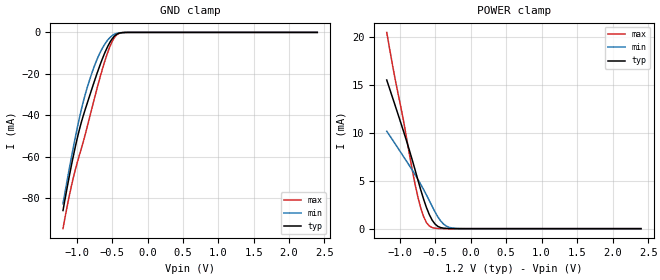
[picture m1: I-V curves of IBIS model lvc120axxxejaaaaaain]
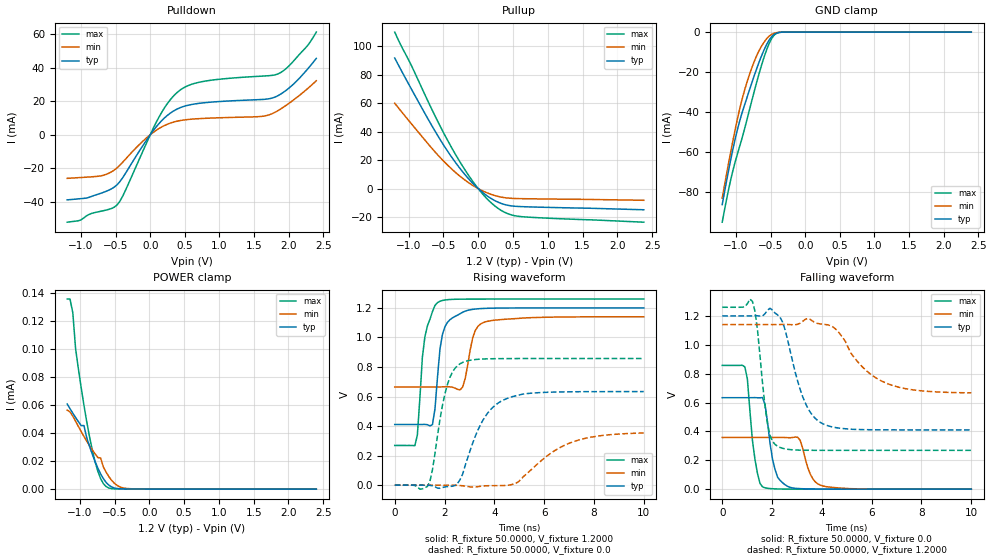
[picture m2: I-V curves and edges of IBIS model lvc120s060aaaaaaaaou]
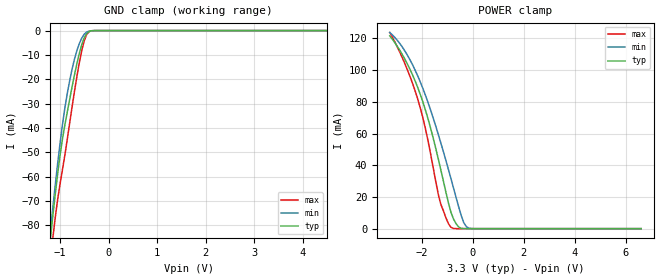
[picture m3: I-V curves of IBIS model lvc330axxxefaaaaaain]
| IBIS Models Generator: Lattice Diamond (64-bit) 3.12.0.240.2
| Generate date: Wed Oct 25 15:16:01 2023
| IBIS File LibisMaker.ibs
| LibisGen v2.0.1.0, 02/25/2008, Lattice Semiconductor Corporation
| Modified by LibisMaker v2.0.1.0, 02/25/2008, Lattice Semiconductor
| North Carolina State University, ERL, 2006
[IBIS ver]   3.2
[File Name]   helloworld1_impl1.ibs
[File Rev]   3.5
[Date]   Thu Sep 10 07:33:23 PDT 2020
[Source]   Lattice Semiconductor cs200fl Process
   LCMXO2-640UHC   FINAL
   Lattice Semiconductor has worked hard to ensure the
   models below are accurate and complete.  However, the
   data below was generated using simulation of the
   input/output model files for the silicon.  Therefore,
   the data below is for reference and initial design
   purposes only.
   Lattice Semiconductor grants permission to use this
   data for use in printed circuit design using this
   Lattice programmable logic device.  Other use of this
   code, including the selling or duplication of any
   portion is strictly prohibited.
|   NAMING CONVENTION
   The IBIS [Model] header is limited by the specification to a
   total of characters.  With such a set of characters available
   for naming models it becomes important to attempt to
   meaningfully encode the IO standards so they fit within the
   twenty character limit.  It would seem that twenty characters
   would provide room enough for describing IO's.  However, the
   PLD IO structure continues to grow more and more complex.  The
   complexity is making the twenty characters insuffiently
   descriptive.  In order to overcome this issue the naming
   convention described below is implemented to resolve the issue.
The twenty character space is managed as follows:
   bbbvvvsdddprugtcoixx
   b = standard
   v = voltage (x.xx V)
   s = slew code
   d = drive (xx.x ma)
   p = pullup code
   r = series resistance  or bank_vccio code
   u = terminate to vcc code
   g = terminate to gnd code
   t = terminate to vtt code
   c = common mode termination mode
   o = diff resistor code
   i = diff resistor current code
   x = reserved
   standard
   lvcmos   lvc
   lvcmosd   lvd
   lvcmosr   lvr
   lvds25e   lve
   lvttl   lvt
   lvttld   ltd
   pci   pci
   sstl_I   ss1
   sstl_II   ss2
   sstld_I   s1d
   sstld_II   s2d
   hstl_i   hs1
   hstl_ii   hs2
   hstld_i   h1d
   hstld_ii   h2d
   lvds25   lvs
   blvds25   blv
   blvds25e   blv
   mlvds25   mlv
   mlvds25e   mlv
   lvpecl33   lvp
   lvpecl33e   lvp
   rsds25   rsd
   rsds25e   rse
   mipi   mip
   mipi_lp   mip
   vref1   vr1
   vref2   vr2
   ref_res   rer
   slew
   na   a
   fast   f
   slow   s
   pullmode
   off   a
   pullup   b
   pulldown   c
   bushold   d
   clamp   e
   up_clamp   f
   down_clamp   g
   keeper_clamp   h
   impedance or Bank_vccio
   off   a
   25   b
   33   c
   50   d
   100   e
   3.3   f
   2.5   g
   1.8   h
   1.5   i
   1.2   j
   termVCC
   off   a
   50   b
   100   c
   120   d
   termGND
   off   a
   50   b
   100   c
   120   d
   termVTT
   off   a
   60   b
   75   c
   120   d
   150   e
   210   f
   VCMT
   off   a
   VCMT   b
   VTT   c
   DDR-2   d
   differential resistor
   off   a
   100   b
   diff drive
   NA   a
   2.0   b
   3.5   c
   1.25   f
   2.5   g
   Reserved   IO type
   in   input only
   ou   output
   io   I/O
   od   Open drain
   on   Inverting differential I/O
   (signal name only)
   op   Non-Inverting differential I/O
   (signal name only)
   Lattice Semiconductor Corporation
   5555 NE Moore Court
   Hillsboro, OR 97214
   U.S.A
   TEL: 1-800-Lattice (USA and Canada)
   408-826-6000 (other locations)
   web: http://www.latticesemi.com/
   email: techsupport@latticesemi.com
[Disclaimer] This IBIS source code is intended as a design reference
   which illustrates how the Lattice Semiconductor device operates.
   It is the user's responsibility to verify their design for
   consistency and functionality through the use of formal
   verification methods.  Lattice Semiconductor provides no warranty
   regarding the use or functionality of this data.
[Copyright]   Copyright 2007 by Lattice Semiconductor Corporation
|   Component XO2
[Component]   XO2
[Manufacturer]   Lattice Semiconductor Corp.
[Package]
|TQFP144
| variable   typ   min   max
R_pkg   159.8m   143.8m   177.3m
L_pkg   7.50nH   6.34nH   8.65nH
C_pkg   1.22pF   1.06pF   1.38pF
[Pin] signal_name   model_name   R_pin   L_pin   C_pin
45   AD0   lvc120s060aaaaaaaaou
44   AD1   lvc120s060aaaaaaaaou
50   ADClk1   lvc120s060aaaaaaaaou
1   ADClk2   lvc120s060aaaaaaaaou
99   ADClk3   lvc120s060aaaaaaaaou
55   ADMode1_1   lvc120s060aaaaaaaaou
95   ADMode1_2   lvc120s060aaaaaaaaou
96   ADMode1_3   lvc120s060aaaaaaaaou
52   ADMode_1   lvc120s060aaaaaaaaou
39   ADMode_2   lvc120s060aaaaaaaaou
85   ADMode_3   lvc120s060aaaaaaaaou
43   ADRst1   lvc120s060aaaaaaaaou
104   ADRst2   lvc120s060aaaaaaaaou
105   ADRst3   lvc120s060aaaaaaaaou
54   ADSout7   lvc120axxxejaaaaaain
71   ADSout8   lvc120axxxejaaaaaain
34   Clk1   lvc120s060aaaaaaaaou
69   Clk2   lvc120s060aaaaaaaaou
32   Clk3   lvc120s060aaaaaaaaou
70   Clk4   lvc120s060aaaaaaaaou
142   ClkOut   lvc330s080aaaaaaaaou
141   DataOut   lvc330s080aaaaaaaaou
106   DebugP2   lvc120s060aaaaaaaaou
20   DebugP3   lvc120s060aaaaaaaaou
125   OSC_in   lvc330axxxefaaaaaain
42   PhaseA1   lvc120s060aaaaaaaaou
58   PhaseA2   lvc120s060aaaaaaaaou
59   PhaseA4   lvc120s060aaaaaaaaou
47   PhaseC1   lvc120s060aaaaaaaaou
48   PhaseC2   lvc120s060aaaaaaaaou
21   PhaseC3   lvc120s060aaaaaaaaou
49   PhaseC4   lvc120s060aaaaaaaaou
28   RS1   lvc120s060aaaaaaaaou
27   RS2   lvc120s060aaaaaaaaou
35   RS3   lvc120s060aaaaaaaaou
33   RS4   lvc120s060aaaaaaaaou
83   RS5   lvc120s060aaaaaaaaou
60   RS6   lvc120s060aaaaaaaaou
61   RS7   lvc120s060aaaaaaaaou
62   RS8   lvc120s060aaaaaaaaou
122   ResCS1   lvc330s080aaaaaaaaou
119   ResCS2   lvc330s080aaaaaaaaou
113   ResCS3   lvc330s080aaaaaaaaou
114   ResCS4   lvc330s080aaaaaaaaou
115   ResCS5   lvc330s080aaaaaaaaou
111   ResCS6   lvc330s080aaaaaaaaou
112   ResCS7   lvc330s080aaaaaaaaou
121   ResCS8   lvc330s080aaaaaaaaou
109   ResClk   lvc330s080aaaaaaaaou
110   ResSDI1   lvc330s080aaaaaaaaou
139   ResSDI2   lvc330s080aaaaaaaaou
56   Rst   lvc120s060aaaaaaaaou
38   Rst1   lvc120s060aaaaaaaaou
40   Rst2   lvc120s060aaaaaaaaou
19   Sin1   lvc120s060aaaaaaaaou
11   Sin10   lvc120s060aaaaaaaaou
10   Sin11   lvc120s060aaaaaaaaou
9   Sin12   lvc120s060aaaaaaaaou
68   Sin14   lvc120s060aaaaaaaaou
67   Sin15   lvc120s060aaaaaaaaou
65   Sin16   lvc120s060aaaaaaaaou
12   Sin2   lvc120s060aaaaaaaaou
13   Sin3   lvc120s060aaaaaaaaou
14   Sin4   lvc120s060aaaaaaaaou
75   Sin5   lvc120s060aaaaaaaaou
74   Sin6   lvc120s060aaaaaaaaou
77   Sin7   lvc120s060aaaaaaaaou
76   Sin8   lvc120s060aaaaaaaaou
6   Sin9   lvc120s060aaaaaaaaou
127   Sout1   lvc330s080aaaaaaaaou
128   Sout2   lvc330s080aaaaaaaaou
132   Sout3   lvc330s080caaaaaaaou
133   Sout4   lvc330s080caaaaaaaou
25   p1   lvc120s060aaaaaaaaou
| Models and submodels in the file (5): lvc120axxxejaaaaaain (Input), lvc120s060aaaaaaaaou (Output), lvc330axxxefaaaaaain (Input), lvc330s080aaaaaaaaou (Output), lvc330s080caaaaaaaou (Output)
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[Model]   lvc120axxxejaaaaaain
Model_type   Input
Polarity   Non-Inverting
Enable   Active-Low
Vinl =   0.4200V
Vinh =   0.7800V
C_comp   4.2000pF   3.8000pF   7.5000pF
[Temperature Range]   25.0000   0.1050k   -40.0000
[Voltage Range]   1.2000V   1.1400V   1.2600V
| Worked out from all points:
|   GND clamp passes 1 mA (typ) near -0.44 V on its own axis
|   POWER clamp passes 1 mA (typ) near -0.55 V on its own axis
[GND_clamp]
|Voltage   I(typ)   I(min)   I(max)
-1.2V     -86.07mA   -82.81mA   -94.84mA
-1.1V     -67.62mA   -63.85mA   -77.22mA
-1V       -51.44mA   -46.49mA   -63.16mA
-920mV    -41.05mA   -34.47mA   -53.69mA
-840mV    -32.43mA   -24.76mA   -43.33mA
-740mV    -22.02mA   -14.88mA   -29.93mA
-640mV    -12.55mA   -7.499mA   -17.49mA
-580mV    -7.732mA   -4.278mA   -10.96mA
-520mV    -3.911mA   -2mA       -5.586mA
-440mV    -943.9uA   -474.2uA   -1.243mA
-300mV    -18.55uA   -15.85uA   -16.32uA
2.4V      0A         0A         0A
[POWER_clamp]
|Voltage   I(typ)   I(min)   I(max)
-1.18V    15.54mA    10.19mA    20.52mA
-1.06V    12.84mA    8.851mA    15.57mA
-940mV    10.09mA    7.491mA    11.12mA
-780mV    6.115mA    5.629mA    4.606mA
-700mV    4.023mA    4.616mA    2.131mA
-660mV    3.056mA    4.076mA    1.241mA
-580mV    1.457mA    2.922mA    275.5uA
-500mV    478.5uA    1.748mA    47.96uA
-420mV    109.5uA    796.1uA    7.509uA
-340mV    22.62uA    261.6uA    1.074uA
-260mV    4.285uA    65.97uA    166.7nA
2.4V      -20.81nA   -18.5nA    -25.04nA
[Model]   lvc120s060aaaaaaaaou
Model_type   Output
Polarity   Non-Inverting
Enable   Active-Low
Vmeas =   0.6000V
Cref =   0.0F
Rref =   1.0000M
Vref =   0.0V
C_comp   3.0000pF   2.7000pF   3.3000pF
[Temperature Range]   25.0000   0.1050k   -40.0000
[Voltage Range]   1.2000V   1.1400V   1.2600V
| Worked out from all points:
|   slope of the pulldown table from 0 to 0.18 V, typ, clamps not added: 20 ohm
|   slope of the pullup table from 0 to 0.18 V, typ, clamps not added: 26.6 ohm
|   GND clamp passes 1 mA (typ) near -0.44 V on its own axis
|   rising waveform, R_fixture 50.0000, V_fixture 1.2000: 20-80 % time 317ps typ, 358ps min, 329ps max; typ from 0.41 V to 1.2 V
|   rising waveform, R_fixture 50.0000, V_fixture 0.0: 20-80 % time 1.01ns typ, 1.73ns min, 548ps max; typ from 0 V to 0.634 V
|   falling waveform, R_fixture 50.0000, V_fixture 0.0: 20-80 % time 354ps typ, 414ps min, 305ps max; typ from 0.634 V to 0 V
|   falling waveform, R_fixture 50.0000, V_fixture 1.2000: 20-80 % time 802ps typ, 1.41ns min, 368ps max; typ from 1.2 V to 0.41 V
[Pulldown]
|Voltage   I(typ)   I(min)   I(max)
-1.2V     -38.96mA   -26.08mA   -52.29mA
-720mV    -35.07mA   -24.65mA   -45.8mA
-480mV    -29.93mA   -19.79mA   -41.97mA
-360mV    -23.22mA   -14.7mA    -33.4mA
120mV     6.376mA    3.552mA    10.08mA
280mV     12.61mA    6.797mA    20.43mA
440mV     16.3mA     8.521mA    26.95mA
800mV     19.2mA     9.815mA    32.1mA
1.6V      21.04mA    10.93mA    34.99mA
1.84V     23.22mA    14.24mA    36.25mA
2.04V     29.13mA    19.83mA    42.64mA
2.4V      45.61mA    32.28mA    61.37mA
[Pullup]
|Voltage   I(typ)   I(min)   I(max)
-1.2V     91.7mA     59.93mA    109.9mA
-960mV    69.84mA    45.5mA     86.39mA
-680mV    45.34mA    29.11mA    57.02mA
-520mV    32.33mA    20.46mA    41.29mA
-360mV    20.61mA    12.83mA    26.86mA
-200mV    10.41mA    6.348mA    13.9mA
-40mV     1.856mA    1.102mA    2.554mA
120mV     -4.812mA   -2.806mA   -6.806mA
240mV     -8.452mA   -4.875mA   -12.21mA
400mV     -11.43mA   -6.477mA   -17.09mA
600mV     -12.59mA   -7.023mA   -19.56mA
2.38V     -14.84mA   -8.182mA   -23.56mA
[GND_clamp]
|Voltage   I(typ)   I(min)   I(max)
-1.2V     -86.07mA   -82.81mA   -94.84mA
-1.1V     -67.62mA   -63.85mA   -77.22mA
-1V       -51.44mA   -46.49mA   -63.16mA
-920mV    -41.05mA   -34.47mA   -53.69mA
-840mV    -32.43mA   -24.76mA   -43.33mA
-740mV    -22.02mA   -14.88mA   -29.93mA
-640mV    -12.55mA   -7.499mA   -17.49mA
-580mV    -7.732mA   -4.278mA   -10.96mA
-520mV    -3.911mA   -2mA       -5.586mA
-440mV    -943.9uA   -474.2uA   -1.243mA
-300mV    -18.55uA   -15.85uA   -16.32uA
2.4V      0A         0A         0A
[POWER_clamp]
|Voltage   I(typ)   I(min)   I(max)
-1.18V    60.64uA    56.26uA    135.4uA
-1.14V    57.31uA    54.99uA    135.4uA
-1.1V     54.11uA    52uA       125.7uA
-1.06V    51.03uA    48.39uA    100.1uA
-1.02V    48.09uA    44.69uA    85.81uA
-940mV    45.28uA    37.56uA    59.84uA
-820mV    24.89uA    28uA       27.91uA
-700mV    10.88uA    22.15uA    7.486uA
-620mV    4.733uA    12.01uA    1.786uA
-460mV    415.3nA    2.532uA    158.5nA
-300mV    127.1nA    366.3nA    158.5nA
2.4V      -20.81nA   -18.5nA    -25.04nA
[Ramp]
| variable   typ   min   max
dV/dt_r  0.3358/0.9992n   0.2119/1.7173n   0.5144/0.5428n
dV/dt_f  0.4737/0.7939n   0.2838/1.4939n   0.5947/0.3645n
R_load = 50.0000
[Rising Waveform]
R_fixture=   50.0000
V_fixture=   1.2000
V_fixture_min=   1.1400
V_fixture_max=   1.2600
|time   V(typ)   V(min)   V(max)
0s        410.5mV    664.7mV    268.8mV
808.1ps   410.4mV    664.7mV    267.5mV
1.212ns   411.3mV    664.7mV    1.006V
1.515ns   410.3mV    664.5mV    1.175V
1.717ns   732.2mV    664.7mV    1.236V
2.02ns    1.075V     665.9mV    1.254V
2.828ns   1.178V     721.4mV    1.26V
3.232ns   1.192V     1.047V     1.26V
3.636ns   1.197V     1.106V     1.26V
10ns      1.2V       1.14V      1.26V
[Rising Waveform]
R_fixture=   50.0000
V_fixture=   0.0
V_fixture_min=   0.0
V_fixture_max=   0.0
|time   V(typ)   V(min)   V(max)
0s        231.9nV    390.7nV    158.8nV
1.313ns   -481.2uV   2.349uV    -8.377mV
1.515ns   -4.577mV   9.668uV    104.6mV
1.818ns   -21.53mV   11.11uV    446.9mV
2.121ns   -9.601mV   -355.6uV   684.2mV
2.727ns   74.64mV    -4.326mV   831mV
3.535ns   438.2mV    -5.924mV   854.1mV
4.444ns   582.5mV    -2.12mV    856.9mV
7.071ns   632.1mV    287.9mV    857.3mV
10ns      633.5mV    353.1mV    857.3mV
[Falling Waveform]
R_fixture=   50.0000
V_fixture=   0.0
V_fixture_min=   0.0
V_fixture_max=   0.0
|time   V(typ)   V(min)   V(max)
0s        633.6mV    358mV      857.3mV
909.1ps   633.6mV    358mV      846.5mV
1.313ns   634.3mV    358mV      208.2mV
1.616ns   634.6mV    358mV      16.31mV
2.121ns   135.2mV    358mV      2.021mV
2.626ns   19.44mV    356.7mV    419.9uV
3.131ns   3.598mV    337.3mV    77.69uV
3.535ns   1.522mV    104mV      20.84uV
4.04ns    573.9uV    22.04mV    26.66uV
10ns      1.994uV    5.359uV    -9.394uV
[Falling Waveform]
R_fixture=   50.0000
V_fixture=   1.2000
V_fixture_min=   1.1400
V_fixture_max=   1.2600
|time   V(typ)   V(min)   V(max)
0s        1.2V       1.14V      1.26V
1.212ns   1.2V       1.14V      1.3V
1.414ns   1.201V     1.14V      1.106V
1.818ns   1.24V      1.14V      453.5mV
2.222ns   1.207V     1.14V      297.6mV
2.525ns   1.103V     1.141V     279mV
3.232ns   639.7mV    1.162V     269.9mV
3.939ns   462.7mV    1.144V     268.9mV
6.465ns   411mV      743.6mV    268.8mV
10ns      410.5mV    666.9mV    268.8mV
[Model]   lvc330axxxefaaaaaain
Model_type   Input
Polarity   Non-Inverting
Enable   Active-Low
Vinl =   0.8000V
Vinh =   2.0000V
C_comp   4.2000pF   3.8000pF   7.5000pF
[Temperature Range]   25.0000   0.1050k   -40.0000
[Voltage Range]   3.3000V   3.1400V   3.4700V
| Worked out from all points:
|   GND clamp passes 1 mA (typ) near -0.44 V on its own axis
|   POWER clamp passes 1 mA (typ) near -0.54 V on its own axis
[GND_clamp]
|Voltage   I(typ)   I(min)   I(max)
-3.3V     -955.3mA   -930.3mA   -978mA
-1.2V     -86.18mA   -82.93mA   -94.91mA
-1.15V    -76.73mA   -73.29mA   -85.74mA
-1.1V     -67.71mA   -63.95mA   -77.28mA
-1V       -51.52mA   -46.57mA   -63.21mA
-900mV    -38.87mA   -31.88mA   -51.26mA
-800mV    -28.25mA   -20.58mA   -37.97mA
-700mV    -18.1mA    -11.63mA   -24.81mA
-600mV    -9.267mA   -5.265mA   -13.06mA
-450mV    -1.181mA   -586.6uA   -1.592mA
-250mV    -3.532uA   -4.055uA   -3.003uA
6.6V      0A         0A         0A
[POWER_clamp]
|Voltage   I(typ)   I(min)   I(max)
-3.25V    121.6mA    123.7mA    123.8mA
-2.55V    103.6mA    109.2mA    99.91mA
-2.05V    84.55mA    92.42mA    76.01mA
-1.85V    74.75mA    84.09mA    62.98mA
-1.65V    63.47mA    74.86mA    47.24mA
-1.35V    44.14mA    59.56mA    21.79mA
-1.25V    37.23mA    54.16mA    15.46mA
-850mV    10.22mA    31.49mA    813uA
-650mV    3.122mA    19.66mA    19.66uA
-350mV    37.56uA    3.815mA    1.535uA
-150mV    934.2nA    336.7uA    1.026uA
6.6V      -57.56nA   -49.34nA   -232.5nA
